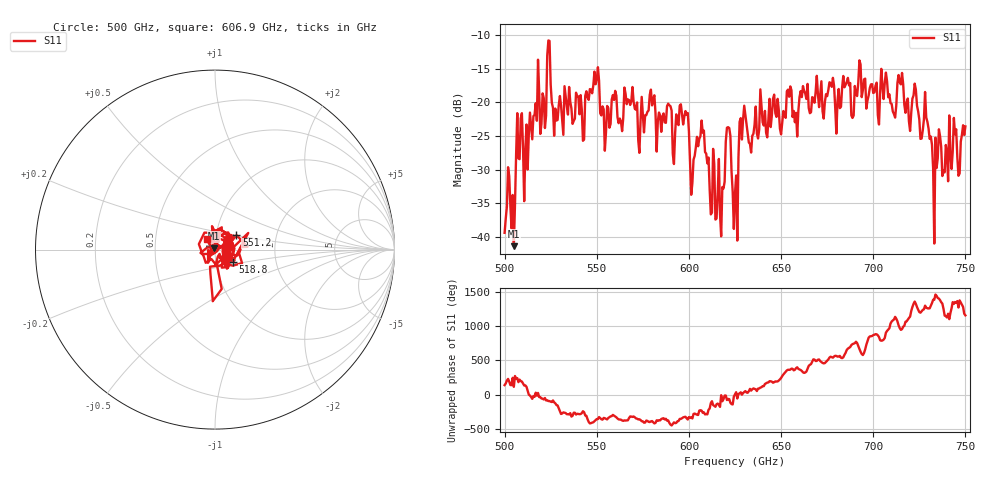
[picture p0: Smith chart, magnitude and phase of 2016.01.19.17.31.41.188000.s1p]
!Created with skrf (http://scikit-rf.org).
# GHz S RI R 50.0
!freq ReS11 ImS11
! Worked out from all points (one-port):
!   401 points, 500 GHz to 750 GHz, reference 50 ohm
!   lowest |S11| = -41.4 dB at 505 GHz (marker M1), VSWR 1.02, Z = 49.6 + j0.766 ohm
!   |S11| at or under -10 dB: start of sweep to end of sweep
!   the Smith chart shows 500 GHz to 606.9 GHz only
!   S11 on the Smith chart (normalised r, x): 500 GHz: 0.98, +0.01; 518.8 GHz: 1.21, -0.17; 551.2 GHz: 1.25, +0.21; 606.9 GHz: 0.91, +0.10
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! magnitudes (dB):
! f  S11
! 500 GHz  -39.4
! 505 GHz  -41.4
! 508.1 GHz  -28.5
! 511.2 GHz  -27.1
! 518.8 GHz  -18.4
! 524.4 GHz  -10.9
! 526.9 GHz  -25.0
! 531.2 GHz  -22.8
! 551.2 GHz  -16.8
! 562.5 GHz  -22.4
! 566.2 GHz  -20.3
! 593.8 GHz  -23.1
! 598.8 GHz  -21.9
! 601.9 GHz  -32.0
! 606.9 GHz  -22.7
! 616.2 GHz  -28.4
! 621.2 GHz  -23.7
! 625 GHz  -33.6
! 628.8 GHz  -25.5
! 656.2 GHz  -22.2
! 687.5 GHz  -17.1
! 711.2 GHz  -21.8
! 715 GHz  -17.3
! 718.8 GHz  -19.4
! 728.8 GHz  -22.3
! 733.8 GHz  -25.3
! 735 GHz  -28.3
! 750 GHz  -23.6
